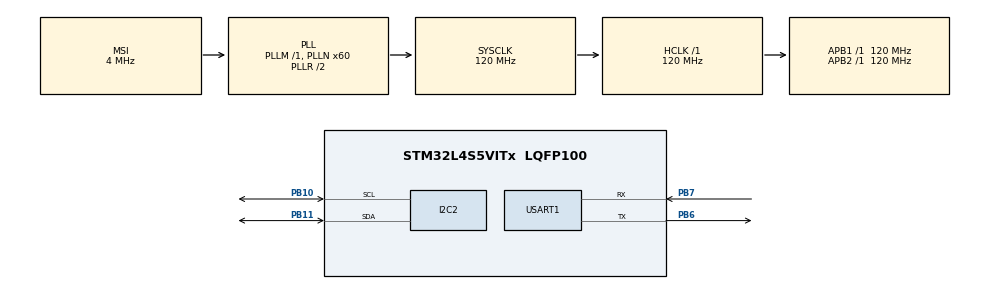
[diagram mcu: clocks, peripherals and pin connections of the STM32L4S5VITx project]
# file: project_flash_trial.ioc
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I2C2.Timing=0x307075B1
Mcu.Family=STM32L4
Mcu.Name=STM32L4S5VITx
Mcu.Package=LQFP100
NVIC.PriorityGroup=NVIC_PRIORITYGROUP_4
OCTOSPI1.MemoryType=HAL_OSPI_MEMTYPE_MACRONIX
PB10.Mode=I2C
PB10.Signal=I2C2_SCL
PB11.Mode=I2C
PB11.Signal=I2C2_SDA
PB6.Mode=Asynchronous
PB6.Signal=USART1_TX
PB7.Mode=Asynchronous
PB7.Signal=USART1_RX
PE10.Signal=OCTOSPIM_P1_CLK
PE11.Signal=OCTOSPIM_P1_NCS
PE12.Signal=OCTOSPIM_P1_IO0
PE13.Signal=OCTOSPIM_P1_IO1
PE14.Signal=OCTOSPIM_P1_IO2
PE15.Signal=OCTOSPIM_P1_IO3
ProjectManager.HeapSize=0x200
ProjectManager.StackSize=0x400
ProjectManager.TargetToolchain=STM32CubeIDE
RCC.ADCFreq_Value=48000000
RCC.AHBFreq_Value=120000000
RCC.APB1Freq_Value=120000000
RCC.APB1TimFreq_Value=120000000
RCC.APB2Freq_Value=120000000
RCC.APB2TimFreq_Value=120000000
RCC.CortexFreq_Value=120000000
RCC.HCLKFreq_Value=120000000
RCC.HSE_VALUE=8000000
RCC.HSI48_VALUE=48000000
RCC.HSI_VALUE=16000000
RCC.MSI_VALUE=4000000
RCC.PLLN=60
RCC.PLLSAI1N=24
RCC.SYSCLKFreq_VALUE=120000000
RCC.SYSCLKSource=RCC_SYSCLKSOURCE_PLLCLK
RCC.USBFreq_Value=48000000
RCC.VCOOutputFreq_Value=240000000
USART1.VirtualMode-Asynchronous=VM_ASYNC
VP_OCTOSPI1_VS_quad.Mode=quad_mode
board=B-L4S5I-IOT01A

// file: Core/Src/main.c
/* USER CODE BEGIN Header */
/**
  ******************************************************************************
  * @file           : main.c
  * @brief          : Main program body
  ******************************************************************************
  * @attention
  *
  * Copyright (c) 2023 STMicroelectronics.
  * All rights reserved.
  *
  * This software is licensed under terms that can be found in the LICENSE file
  * in the root directory of this software component.
  * If no LICENSE file comes with this software, it is provided AS-IS.
  *
  ******************************************************************************
  */
/* USER CODE END Header */
#include "main.h"

/* USER CODE BEGIN Includes */
#include "stm32l4s5i_iot01_accelero.h"
#include "stm32l4s5i_iot01_gyro.h"
#include "stm32l4s5i_iot01_hsensor.h"
#include "stm32l4s5i_iot01_magneto.h"
#include "stm32l4s5i_iot01_psensor.h"
#include "stm32l4s5i_iot01_qspi.h"
#include "stm32l4s5i_iot01_tsensor.h"

/* USER CODE END Includes */

I2C_HandleTypeDef hi2c2;

OSPI_HandleTypeDef hospi1;

UART_HandleTypeDef huart1;

void SystemClock_Config(void);
static void MX_GPIO_Init(void);
static void MX_I2C2_Init(void);
static void MX_OCTOSPI1_Init(void);
static void MX_USART1_UART_Init(void);

int main(void)
{

  /* MCU Configuration--------------------------------------------------------*/

  /* Reset of all peripherals, Initializes the Flash interface and the Systick. */
  HAL_Init();

  /* Configure the system clock */
  SystemClock_Config();

  /* Initialize all configured peripherals */
  MX_GPIO_Init();
  MX_I2C2_Init();
  MX_OCTOSPI1_Init();
  MX_USART1_UART_Init();
  /* USER CODE BEGIN 2 */

  // initiate humidity sensor
  BSP_HSENSOR_Init();
  // initiate magnetic sensor
  BSP_MAGNETO_Init();
  // initiate pressure sensor
  BSP_PSENSOR_Init();
  // initiate gyroscope sensor
  BSP_ACCELERO_Init();

  if (BSP_QSPI_Init() != QSPI_OK) {
  	  Error_Handler();
  }

//  struct flash_data_type flash_data_1;

//  uint8_t size;
//  size = sizeof(flash_data_1);

  if (BSP_QSPI_Erase_Block(base_addr_bitmap_1) != QSPI_OK) {
    Error_Handler();
  }

  if (BSP_QSPI_Erase_Block(base_addr_data_1) != QSPI_OK) {
      Error_Handler();
  }

  /* USER CODE END 2 */

  /* Infinite loop */
  while (1)
  {

  }
}

void SystemClock_Config(void)
{
  RCC_OscInitTypeDef RCC_OscInitStruct = {0};
  RCC_ClkInitTypeDef RCC_ClkInitStruct = {0};

  /** Configure the main internal regulator output voltage
  */
  if (HAL_PWREx_ControlVoltageScaling(PWR_REGULATOR_VOLTAGE_SCALE1_BOOST) != HAL_OK)
  {
    Error_Handler();
  }

  /** Initializes the RCC Oscillators according to the specified parameters
  * in the RCC_OscInitTypeDef structure.
  */
  RCC_OscInitStruct.OscillatorType = RCC_OSCILLATORTYPE_MSI;
  RCC_OscInitStruct.MSIState = RCC_MSI_ON;
  RCC_OscInitStruct.MSICalibrationValue = 0;
  RCC_OscInitStruct.MSIClockRange = RCC_MSIRANGE_6;
  RCC_OscInitStruct.PLL.PLLState = RCC_PLL_ON;
  RCC_OscInitStruct.PLL.PLLSource = RCC_PLLSOURCE_MSI;
  RCC_OscInitStruct.PLL.PLLM = 1;
  RCC_OscInitStruct.PLL.PLLN = 60;
  RCC_OscInitStruct.PLL.PLLP = RCC_PLLP_DIV2;
  RCC_OscInitStruct.PLL.PLLQ = RCC_PLLQ_DIV2;
  RCC_OscInitStruct.PLL.PLLR = RCC_PLLR_DIV2;
  if (HAL_RCC_OscConfig(&RCC_OscInitStruct) != HAL_OK)
  {
    Error_Handler();
  }

  /** Initializes the CPU, AHB and APB buses clocks
  */
  RCC_ClkInitStruct.ClockType = RCC_CLOCKTYPE_HCLK|RCC_CLOCKTYPE_SYSCLK
                              |RCC_CLOCKTYPE_PCLK1|RCC_CLOCKTYPE_PCLK2;
  RCC_ClkInitStruct.SYSCLKSource = RCC_SYSCLKSOURCE_PLLCLK;
  RCC_ClkInitStruct.AHBCLKDivider = RCC_SYSCLK_DIV1;
  RCC_ClkInitStruct.APB1CLKDivider = RCC_HCLK_DIV1;
  RCC_ClkInitStruct.APB2CLKDivider = RCC_HCLK_DIV1;

  if (HAL_RCC_ClockConfig(&RCC_ClkInitStruct, FLASH_LATENCY_5) != HAL_OK)
  {
    Error_Handler();
  }
}

static void MX_I2C2_Init(void)
{

  hi2c2.Instance = I2C2;
  hi2c2.Init.Timing = 0x307075B1;
  hi2c2.Init.OwnAddress1 = 0;
  hi2c2.Init.AddressingMode = I2C_ADDRESSINGMODE_7BIT;
  hi2c2.Init.DualAddressMode = I2C_DUALADDRESS_DISABLE;
  hi2c2.Init.OwnAddress2 = 0;
  hi2c2.Init.OwnAddress2Masks = I2C_OA2_NOMASK;
  hi2c2.Init.GeneralCallMode = I2C_GENERALCALL_DISABLE;
  hi2c2.Init.NoStretchMode = I2C_NOSTRETCH_DISABLE;
  if (HAL_I2C_Init(&hi2c2) != HAL_OK)
  {
    Error_Handler();
  }

  /** Configure Analogue filter
  */
  if (HAL_I2CEx_ConfigAnalogFilter(&hi2c2, I2C_ANALOGFILTER_ENABLE) != HAL_OK)
  {
    Error_Handler();
  }

  /** Configure Digital filter
  */
  if (HAL_I2CEx_ConfigDigitalFilter(&hi2c2, 0) != HAL_OK)
  {
    Error_Handler();
  }

}

static void MX_OCTOSPI1_Init(void)
{

  /* OCTOSPI1 parameter configuration*/
  hospi1.Instance = OCTOSPI1;
  hospi1.Init.FifoThreshold = 1;
  hospi1.Init.DualQuad = HAL_OSPI_DUALQUAD_DISABLE;
  hospi1.Init.MemoryType = HAL_OSPI_MEMTYPE_MACRONIX;
  hospi1.Init.DeviceSize = 32;
  hospi1.Init.ChipSelectHighTime = 1;
  hospi1.Init.FreeRunningClock = HAL_OSPI_FREERUNCLK_DISABLE;
  hospi1.Init.ClockMode = HAL_OSPI_CLOCK_MODE_0;
  hospi1.Init.ClockPrescaler = 1;
  hospi1.Init.SampleShifting = HAL_OSPI_SAMPLE_SHIFTING_NONE;
  hospi1.Init.DelayHoldQuarterCycle = HAL_OSPI_DHQC_DISABLE;
  hospi1.Init.ChipSelectBoundary = 0;
  hospi1.Init.DelayBlockBypass = HAL_OSPI_DELAY_BLOCK_BYPASSED;
  if (HAL_OSPI_Init(&hospi1) != HAL_OK)
  {
    Error_Handler();
  }

}

static void MX_USART1_UART_Init(void)
{

  huart1.Instance = USART1;
  huart1.Init.BaudRate = 115200;
  huart1.Init.WordLength = UART_WORDLENGTH_8B;
  huart1.Init.StopBits = UART_STOPBITS_1;
  huart1.Init.Parity = UART_PARITY_NONE;
  huart1.Init.Mode = UART_MODE_TX_RX;
  huart1.Init.HwFlowCtl = UART_HWCONTROL_NONE;
  huart1.Init.OverSampling = UART_OVERSAMPLING_16;
  huart1.Init.OneBitSampling = UART_ONE_BIT_SAMPLE_DISABLE;
  huart1.Init.ClockPrescaler = UART_PRESCALER_DIV1;
  huart1.AdvancedInit.AdvFeatureInit = UART_ADVFEATURE_NO_INIT;
  if (HAL_UART_Init(&huart1) != HAL_OK)
  {
    Error_Handler();
  }
  if (HAL_UARTEx_SetTxFifoThreshold(&huart1, UART_TXFIFO_THRESHOLD_1_8) != HAL_OK)
  {
    Error_Handler();
  }
  if (HAL_UARTEx_SetRxFifoThreshold(&huart1, UART_RXFIFO_THRESHOLD_1_8) != HAL_OK)
  {
    Error_Handler();
  }
  if (HAL_UARTEx_DisableFifoMode(&huart1) != HAL_OK)
  {
    Error_Handler();
  }

}

static void MX_GPIO_Init(void)
{

  /* GPIO Ports Clock Enable */
  __HAL_RCC_GPIOE_CLK_ENABLE();
  __HAL_RCC_GPIOB_CLK_ENABLE();

}

void Error_Handler(void)
{
  __disable_irq();
  while (1)
  {
  }
}
